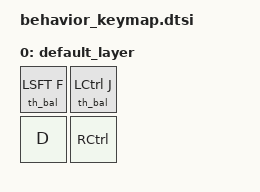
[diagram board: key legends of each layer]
#include <dt-bindings/zmk/keys.h>
#include <behaviors.dtsi>
#include <dt-bindings/zmk/kscan-mock.h>

/ {
	behaviors {
		th_bal: behavior_tap_hold_balanced {
			compatible = "zmk,behavior-tap-hold";
			label = "TAP_HOLD_BALANCED";
			#binding-cells = <2>;
			flavor = "balanced";
			tapping_term_ms = <300>;
			bindings = <&kp>, <&kp>;
		};
	};

	keymap {
		compatible = "zmk,keymap";
		label ="Default keymap";

		default_layer {
			bindings = <
				&th_bal LSFT F &th_bal LCTL J
				&kp D &kp RCTL>;
		};
	};
};
